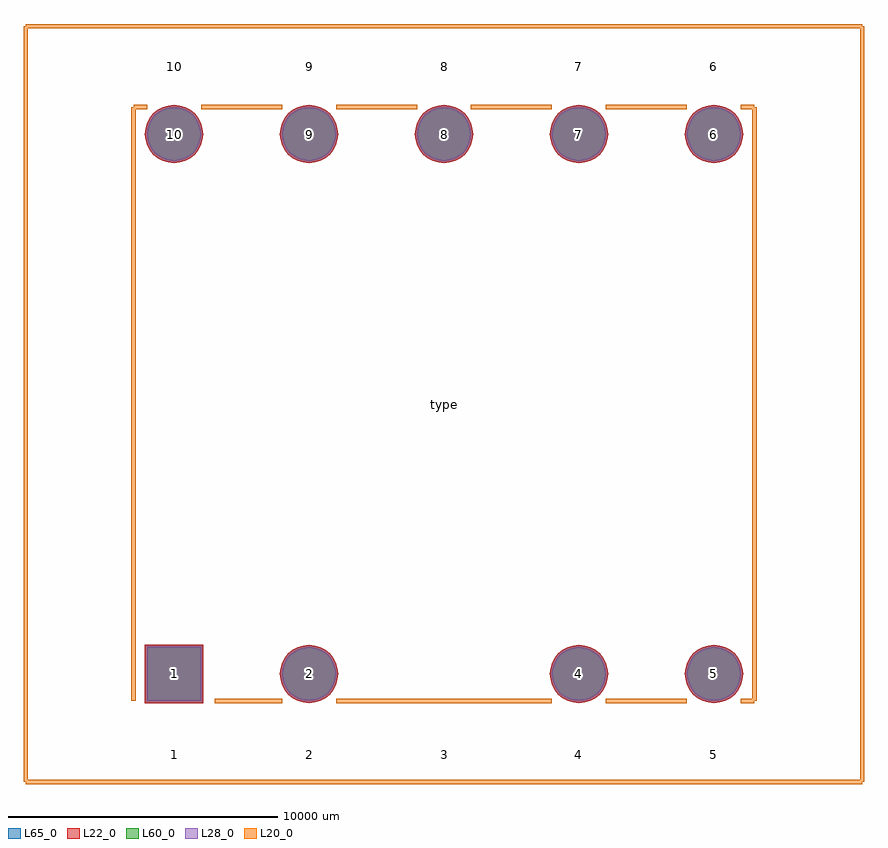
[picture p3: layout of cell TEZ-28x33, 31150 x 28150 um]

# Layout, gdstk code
import gdstk
lib = gdstk.Library(unit=1e-6, precision=1e-09)
def R(c, l, rs):  # rectangles x0, y0, x1, y1
    for r in rs: c.add(gdstk.rectangle(r[:2], r[2:], *l))
def P(c, l, *ps):  # polygons
    for p in ps: c.add(gdstk.Polygon(p, *l))
L20_0 = (20, 0)
L22_0 = (22, 0)
L28_0 = (28, 0)
L60_0 = (60, 0)
L65_0 = (65, 0)

tez_28x33 = lib.new_cell('TEZ-28x33')
R(tez_28x33, L22_0, [(-11075,-11075,-8925,-8925)])
P(tez_28x33, L22_0, [(-8925,10000),(-8945.656,10209.722),(-9006.83,10411.385),(-9106.17,10597.238),(-9239.86,10760.14),(-9402.762,10893.83),(-9588.615,10993.17),(-9790.278,11054.344),(-10000,11075),(-10209.722,11054.344),(-10411.385,10993.17),(-10597.238,10893.83),(-10760.14,10760.14),(-10893.83,10597.238),(-10993.17,10411.385),(-11054.344,10209.722),(-11075,10000),(-11054.344,9790.278),(-10993.17,9588.615),(-10893.83,9402.762),(-10760.14,9239.86),(-10597.238,9106.17),(-10411.385,9006.83),(-10209.722,8945.656),(-10000,8925),(-9790.278,8945.656),(-9588.615,9006.83),(-9402.762,9106.17),(-9239.86,9239.86),(-9106.17,9402.762),(-9006.83,9588.615),(-8945.656,9790.278)],
  [(-3925,10000),(-3945.656,10209.722),(-4006.83,10411.385),(-4106.17,10597.238),(-4239.86,10760.14),(-4402.762,10893.83),(-4588.615,10993.17),(-4790.278,11054.344),(-5000,11075),(-5209.722,11054.344),(-5411.385,10993.17),(-5597.238,10893.83),(-5760.14,10760.14),(-5893.83,10597.238),(-5993.17,10411.385),(-6054.344,10209.722),(-6075,10000),(-6054.344,9790.278),(-5993.17,9588.615),(-5893.83,9402.762),(-5760.14,9239.86),(-5597.238,9106.17),(-5411.385,9006.83),(-5209.722,8945.656),(-5000,8925),(-4790.278,8945.656),(-4588.615,9006.83),(-4402.762,9106.17),(-4239.86,9239.86),(-4106.17,9402.762),(-4006.83,9588.615),(-3945.656,9790.278)],
  [(1075,10000),(1054.344,10209.722),(993.17,10411.385),(893.83,10597.238),(760.14,10760.14),(597.238,10893.83),(411.385,10993.17),(209.722,11054.344),(0,11075),(-209.722,11054.344),(-411.385,10993.17),(-597.238,10893.83),(-760.14,10760.14),(-893.83,10597.238),(-993.17,10411.385),(-1054.344,10209.722),(-1075,10000),(-1054.344,9790.278),(-993.17,9588.615),(-893.83,9402.762),(-760.14,9239.86),(-597.238,9106.17),(-411.385,9006.83),(-209.722,8945.656),(0,8925),(209.722,8945.656),(411.385,9006.83),(597.238,9106.17),(760.14,9239.86),(893.83,9402.762),(993.17,9588.615),(1054.344,9790.278)],
  [(6075,10000),(6054.344,10209.722),(5993.17,10411.385),(5893.83,10597.238),(5760.14,10760.14),(5597.238,10893.83),(5411.385,10993.17),(5209.722,11054.344),(5000,11075),(4790.278,11054.344),(4588.615,10993.17),(4402.762,10893.83),(4239.86,10760.14),(4106.17,10597.238),(4006.83,10411.385),(3945.656,10209.722),(3925,10000),(3945.656,9790.278),(4006.83,9588.615),(4106.17,9402.762),(4239.86,9239.86),(4402.762,9106.17),(4588.615,9006.83),(4790.278,8945.656),(5000,8925),(5209.722,8945.656),(5411.385,9006.83),(5597.238,9106.17),(5760.14,9239.86),(5893.83,9402.762),(5993.17,9588.615),(6054.344,9790.278)],
  [(11075,10000),(11054.344,10209.722),(10993.17,10411.385),(10893.83,10597.238),(10760.14,10760.14),(10597.238,10893.83),(10411.385,10993.17),(10209.722,11054.344),(10000,11075),(9790.278,11054.344),(9588.615,10993.17),(9402.762,10893.83),(9239.86,10760.14),(9106.17,10597.238),(9006.83,10411.385),(8945.656,10209.722),(8925,10000),(8945.656,9790.278),(9006.83,9588.615),(9106.17,9402.762),(9239.86,9239.86),(9402.762,9106.17),(9588.615,9006.83),(9790.278,8945.656),(10000,8925),(10209.722,8945.656),(10411.385,9006.83),(10597.238,9106.17),(10760.14,9239.86),(10893.83,9402.762),(10993.17,9588.615),(11054.344,9790.278)],
  [(11075,-10000),(11054.344,-9790.278),(10993.17,-9588.615),(10893.83,-9402.762),(10760.14,-9239.86),(10597.238,-9106.17),(10411.385,-9006.83),(10209.722,-8945.656),(10000,-8925),(9790.278,-8945.656),(9588.615,-9006.83),(9402.762,-9106.17),(9239.86,-9239.86),(9106.17,-9402.762),(9006.83,-9588.615),(8945.656,-9790.278),(8925,-10000),(8945.656,-10209.722),(9006.83,-10411.385),(9106.17,-10597.238),(9239.86,-10760.14),(9402.762,-10893.83),(9588.615,-10993.17),(9790.278,-11054.344),(10000,-11075),(10209.722,-11054.344),(10411.385,-10993.17),(10597.238,-10893.83),(10760.14,-10760.14),(10893.83,-10597.238),(10993.17,-10411.385),(11054.344,-10209.722)],
  [(6075,-10000),(6054.344,-9790.278),(5993.17,-9588.615),(5893.83,-9402.762),(5760.14,-9239.86),(5597.238,-9106.17),(5411.385,-9006.83),(5209.722,-8945.656),(5000,-8925),(4790.278,-8945.656),(4588.615,-9006.83),(4402.762,-9106.17),(4239.86,-9239.86),(4106.17,-9402.762),(4006.83,-9588.615),(3945.656,-9790.278),(3925,-10000),(3945.656,-10209.722),(4006.83,-10411.385),(4106.17,-10597.238),(4239.86,-10760.14),(4402.762,-10893.83),(4588.615,-10993.17),(4790.278,-11054.344),(5000,-11075),(5209.722,-11054.344),(5411.385,-10993.17),(5597.238,-10893.83),(5760.14,-10760.14),(5893.83,-10597.238),(5993.17,-10411.385),(6054.344,-10209.722)],
  [(-3925,-10000),(-3945.656,-9790.278),(-4006.83,-9588.615),(-4106.17,-9402.762),(-4239.86,-9239.86),(-4402.762,-9106.17),(-4588.615,-9006.83),(-4790.278,-8945.656),(-5000,-8925),(-5209.722,-8945.656),(-5411.385,-9006.83),(-5597.238,-9106.17),(-5760.14,-9239.86),(-5893.83,-9402.762),(-5993.17,-9588.615),(-6054.344,-9790.278),(-6075,-10000),(-6054.344,-10209.722),(-5993.17,-10411.385),(-5893.83,-10597.238),(-5760.14,-10760.14),(-5597.238,-10893.83),(-5411.385,-10993.17),(-5209.722,-11054.344),(-5000,-11075),(-4790.278,-11054.344),(-4588.615,-10993.17),(-4402.762,-10893.83),(-4239.86,-10760.14),(-4106.17,-10597.238),(-4006.83,-10411.385),(-3945.656,-10209.722)])
R(tez_28x33, L28_0, [(-11000,-11000,-9000,-9000)])
P(tez_28x33, L28_0, [(-9000,10000),(-9019.215,10195.09),(-9076.12,10382.683),(-9168.53,10555.57),(-9292.893,10707.107),(-9444.43,10831.47),(-9617.317,10923.88),(-9804.91,10980.785),(-10000,11000),(-10195.09,10980.785),(-10382.683,10923.88),(-10555.57,10831.47),(-10707.107,10707.107),(-10831.47,10555.57),(-10923.88,10382.683),(-10980.785,10195.09),(-11000,10000),(-10980.785,9804.91),(-10923.88,9617.317),(-10831.47,9444.43),(-10707.107,9292.893),(-10555.57,9168.53),(-10382.683,9076.12),(-10195.09,9019.215),(-10000,9000),(-9804.91,9019.215),(-9617.317,9076.12),(-9444.43,9168.53),(-9292.893,9292.893),(-9168.53,9444.43),(-9076.12,9617.317),(-9019.215,9804.91)],
  [(-4000,10000),(-4019.215,10195.09),(-4076.12,10382.683),(-4168.53,10555.57),(-4292.893,10707.107),(-4444.43,10831.47),(-4617.317,10923.88),(-4804.91,10980.785),(-5000,11000),(-5195.09,10980.785),(-5382.683,10923.88),(-5555.57,10831.47),(-5707.107,10707.107),(-5831.47,10555.57),(-5923.88,10382.683),(-5980.785,10195.09),(-6000,10000),(-5980.785,9804.91),(-5923.88,9617.317),(-5831.47,9444.43),(-5707.107,9292.893),(-5555.57,9168.53),(-5382.683,9076.12),(-5195.09,9019.215),(-5000,9000),(-4804.91,9019.215),(-4617.317,9076.12),(-4444.43,9168.53),(-4292.893,9292.893),(-4168.53,9444.43),(-4076.12,9617.317),(-4019.215,9804.91)],
  [(1000,10000),(980.785,10195.09),(923.88,10382.683),(831.47,10555.57),(707.107,10707.107),(555.57,10831.47),(382.683,10923.88),(195.09,10980.785),(0,11000),(-195.09,10980.785),(-382.683,10923.88),(-555.57,10831.47),(-707.107,10707.107),(-831.47,10555.57),(-923.88,10382.683),(-980.785,10195.09),(-1000,10000),(-980.785,9804.91),(-923.88,9617.317),(-831.47,9444.43),(-707.107,9292.893),(-555.57,9168.53),(-382.683,9076.12),(-195.09,9019.215),(0,9000),(195.09,9019.215),(382.683,9076.12),(555.57,9168.53),(707.107,9292.893),(831.47,9444.43),(923.88,9617.317),(980.785,9804.91)],
  [(6000,10000),(5980.785,10195.09),(5923.88,10382.683),(5831.47,10555.57),(5707.107,10707.107),(5555.57,10831.47),(5382.683,10923.88),(5195.09,10980.785),(5000,11000),(4804.91,10980.785),(4617.317,10923.88),(4444.43,10831.47),(4292.893,10707.107),(4168.53,10555.57),(4076.12,10382.683),(4019.215,10195.09),(4000,10000),(4019.215,9804.91),(4076.12,9617.317),(4168.53,9444.43),(4292.893,9292.893),(4444.43,9168.53),(4617.317,9076.12),(4804.91,9019.215),(5000,9000),(5195.09,9019.215),(5382.683,9076.12),(5555.57,9168.53),(5707.107,9292.893),(5831.47,9444.43),(5923.88,9617.317),(5980.785,9804.91)],
  [(11000,10000),(10980.785,10195.09),(10923.88,10382.683),(10831.47,10555.57),(10707.107,10707.107),(10555.57,10831.47),(10382.683,10923.88),(10195.09,10980.785),(10000,11000),(9804.91,10980.785),(9617.317,10923.88),(9444.43,10831.47),(9292.893,10707.107),(9168.53,10555.57),(9076.12,10382.683),(9019.215,10195.09),(9000,10000),(9019.215,9804.91),(9076.12,9617.317),(9168.53,9444.43),(9292.893,9292.893),(9444.43,9168.53),(9617.317,9076.12),(9804.91,9019.215),(10000,9000),(10195.09,9019.215),(10382.683,9076.12),(10555.57,9168.53),(10707.107,9292.893),(10831.47,9444.43),(10923.88,9617.317),(10980.785,9804.91)],
  [(11000,-10000),(10980.785,-9804.91),(10923.88,-9617.317),(10831.47,-9444.43),(10707.107,-9292.893),(10555.57,-9168.53),(10382.683,-9076.12),(10195.09,-9019.215),(10000,-9000),(9804.91,-9019.215),(9617.317,-9076.12),(9444.43,-9168.53),(9292.893,-9292.893),(9168.53,-9444.43),(9076.12,-9617.317),(9019.215,-9804.91),(9000,-10000),(9019.215,-10195.09),(9076.12,-10382.683),(9168.53,-10555.57),(9292.893,-10707.107),(9444.43,-10831.47),(9617.317,-10923.88),(9804.91,-10980.785),(10000,-11000),(10195.09,-10980.785),(10382.683,-10923.88),(10555.57,-10831.47),(10707.107,-10707.107),(10831.47,-10555.57),(10923.88,-10382.683),(10980.785,-10195.09)],
  [(6000,-10000),(5980.785,-9804.91),(5923.88,-9617.317),(5831.47,-9444.43),(5707.107,-9292.893),(5555.57,-9168.53),(5382.683,-9076.12),(5195.09,-9019.215),(5000,-9000),(4804.91,-9019.215),(4617.317,-9076.12),(4444.43,-9168.53),(4292.893,-9292.893),(4168.53,-9444.43),(4076.12,-9617.317),(4019.215,-9804.91),(4000,-10000),(4019.215,-10195.09),(4076.12,-10382.683),(4168.53,-10555.57),(4292.893,-10707.107),(4444.43,-10831.47),(4617.317,-10923.88),(4804.91,-10980.785),(5000,-11000),(5195.09,-10980.785),(5382.683,-10923.88),(5555.57,-10831.47),(5707.107,-10707.107),(5831.47,-10555.57),(5923.88,-10382.683),(5980.785,-10195.09)],
  [(-4000,-10000),(-4019.215,-9804.91),(-4076.12,-9617.317),(-4168.53,-9444.43),(-4292.893,-9292.893),(-4444.43,-9168.53),(-4617.317,-9076.12),(-4804.91,-9019.215),(-5000,-9000),(-5195.09,-9019.215),(-5382.683,-9076.12),(-5555.57,-9168.53),(-5707.107,-9292.893),(-5831.47,-9444.43),(-5923.88,-9617.317),(-5980.785,-9804.91),(-6000,-10000),(-5980.785,-10195.09),(-5923.88,-10382.683),(-5831.47,-10555.57),(-5707.107,-10707.107),(-5555.57,-10831.47),(-5382.683,-10923.88),(-5195.09,-10980.785),(-5000,-11000),(-4804.91,-10980.785),(-4617.317,-10923.88),(-4444.43,-10831.47),(-4292.893,-10707.107),(-4168.53,-10555.57),(-4076.12,-10382.683),(-4019.215,-10195.09)])
R(tez_28x33, L60_0, [(-11000,-11000,-9000,-9000)])
P(tez_28x33, L60_0, [(-9000,10000),(-9019.215,10195.09),(-9076.12,10382.683),(-9168.53,10555.57),(-9292.893,10707.107),(-9444.43,10831.47),(-9617.317,10923.88),(-9804.91,10980.785),(-10000,11000),(-10195.09,10980.785),(-10382.683,10923.88),(-10555.57,10831.47),(-10707.107,10707.107),(-10831.47,10555.57),(-10923.88,10382.683),(-10980.785,10195.09),(-11000,10000),(-10980.785,9804.91),(-10923.88,9617.317),(-10831.47,9444.43),(-10707.107,9292.893),(-10555.57,9168.53),(-10382.683,9076.12),(-10195.09,9019.215),(-10000,9000),(-9804.91,9019.215),(-9617.317,9076.12),(-9444.43,9168.53),(-9292.893,9292.893),(-9168.53,9444.43),(-9076.12,9617.317),(-9019.215,9804.91)],
  [(-4000,10000),(-4019.215,10195.09),(-4076.12,10382.683),(-4168.53,10555.57),(-4292.893,10707.107),(-4444.43,10831.47),(-4617.317,10923.88),(-4804.91,10980.785),(-5000,11000),(-5195.09,10980.785),(-5382.683,10923.88),(-5555.57,10831.47),(-5707.107,10707.107),(-5831.47,10555.57),(-5923.88,10382.683),(-5980.785,10195.09),(-6000,10000),(-5980.785,9804.91),(-5923.88,9617.317),(-5831.47,9444.43),(-5707.107,9292.893),(-5555.57,9168.53),(-5382.683,9076.12),(-5195.09,9019.215),(-5000,9000),(-4804.91,9019.215),(-4617.317,9076.12),(-4444.43,9168.53),(-4292.893,9292.893),(-4168.53,9444.43),(-4076.12,9617.317),(-4019.215,9804.91)],
  [(1000,10000),(980.785,10195.09),(923.88,10382.683),(831.47,10555.57),(707.107,10707.107),(555.57,10831.47),(382.683,10923.88),(195.09,10980.785),(0,11000),(-195.09,10980.785),(-382.683,10923.88),(-555.57,10831.47),(-707.107,10707.107),(-831.47,10555.57),(-923.88,10382.683),(-980.785,10195.09),(-1000,10000),(-980.785,9804.91),(-923.88,9617.317),(-831.47,9444.43),(-707.107,9292.893),(-555.57,9168.53),(-382.683,9076.12),(-195.09,9019.215),(0,9000),(195.09,9019.215),(382.683,9076.12),(555.57,9168.53),(707.107,9292.893),(831.47,9444.43),(923.88,9617.317),(980.785,9804.91)],
  [(6000,10000),(5980.785,10195.09),(5923.88,10382.683),(5831.47,10555.57),(5707.107,10707.107),(5555.57,10831.47),(5382.683,10923.88),(5195.09,10980.785),(5000,11000),(4804.91,10980.785),(4617.317,10923.88),(4444.43,10831.47),(4292.893,10707.107),(4168.53,10555.57),(4076.12,10382.683),(4019.215,10195.09),(4000,10000),(4019.215,9804.91),(4076.12,9617.317),(4168.53,9444.43),(4292.893,9292.893),(4444.43,9168.53),(4617.317,9076.12),(4804.91,9019.215),(5000,9000),(5195.09,9019.215),(5382.683,9076.12),(5555.57,9168.53),(5707.107,9292.893),(5831.47,9444.43),(5923.88,9617.317),(5980.785,9804.91)],
  [(11000,10000),(10980.785,10195.09),(10923.88,10382.683),(10831.47,10555.57),(10707.107,10707.107),(10555.57,10831.47),(10382.683,10923.88),(10195.09,10980.785),(10000,11000),(9804.91,10980.785),(9617.317,10923.88),(9444.43,10831.47),(9292.893,10707.107),(9168.53,10555.57),(9076.12,10382.683),(9019.215,10195.09),(9000,10000),(9019.215,9804.91),(9076.12,9617.317),(9168.53,9444.43),(9292.893,9292.893),(9444.43,9168.53),(9617.317,9076.12),(9804.91,9019.215),(10000,9000),(10195.09,9019.215),(10382.683,9076.12),(10555.57,9168.53),(10707.107,9292.893),(10831.47,9444.43),(10923.88,9617.317),(10980.785,9804.91)],
  [(11000,-10000),(10980.785,-9804.91),(10923.88,-9617.317),(10831.47,-9444.43),(10707.107,-9292.893),(10555.57,-9168.53),(10382.683,-9076.12),(10195.09,-9019.215),(10000,-9000),(9804.91,-9019.215),(9617.317,-9076.12),(9444.43,-9168.53),(9292.893,-9292.893),(9168.53,-9444.43),(9076.12,-9617.317),(9019.215,-9804.91),(9000,-10000),(9019.215,-10195.09),(9076.12,-10382.683),(9168.53,-10555.57),(9292.893,-10707.107),(9444.43,-10831.47),(9617.317,-10923.88),(9804.91,-10980.785),(10000,-11000),(10195.09,-10980.785),(10382.683,-10923.88),(10555.57,-10831.47),(10707.107,-10707.107),(10831.47,-10555.57),(10923.88,-10382.683),(10980.785,-10195.09)],
  [(6000,-10000),(5980.785,-9804.91),(5923.88,-9617.317),(5831.47,-9444.43),(5707.107,-9292.893),(5555.57,-9168.53),(5382.683,-9076.12),(5195.09,-9019.215),(5000,-9000),(4804.91,-9019.215),(4617.317,-9076.12),(4444.43,-9168.53),(4292.893,-9292.893),(4168.53,-9444.43),(4076.12,-9617.317),(4019.215,-9804.91),(4000,-10000),(4019.215,-10195.09),(4076.12,-10382.683),(4168.53,-10555.57),(4292.893,-10707.107),(4444.43,-10831.47),(4617.317,-10923.88),(4804.91,-10980.785),(5000,-11000),(5195.09,-10980.785),(5382.683,-10923.88),(5555.57,-10831.47),(5707.107,-10707.107),(5831.47,-10555.57),(5923.88,-10382.683),(5980.785,-10195.09)],
  [(-4000,-10000),(-4019.215,-9804.91),(-4076.12,-9617.317),(-4168.53,-9444.43),(-4292.893,-9292.893),(-4444.43,-9168.53),(-4617.317,-9076.12),(-4804.91,-9019.215),(-5000,-9000),(-5195.09,-9019.215),(-5382.683,-9076.12),(-5555.57,-9168.53),(-5707.107,-9292.893),(-5831.47,-9444.43),(-5923.88,-9617.317),(-5980.785,-9804.91),(-6000,-10000),(-5980.785,-10195.09),(-5923.88,-10382.683),(-5831.47,-10555.57),(-5707.107,-10707.107),(-5555.57,-10831.47),(-5382.683,-10923.88),(-5195.09,-10980.785),(-5000,-11000),(-4804.91,-10980.785),(-4617.317,-10923.88),(-4444.43,-10831.47),(-4292.893,-10707.107),(-4168.53,-10555.57),(-4076.12,-10382.683),(-4019.215,-10195.09)])
R(tez_28x33, L65_0, [(-11075,-11075,-8925,-8925)])
P(tez_28x33, L65_0, [(-8925,10000),(-8945.656,10209.722),(-9006.83,10411.385),(-9106.17,10597.238),(-9239.86,10760.14),(-9402.762,10893.83),(-9588.615,10993.17),(-9790.278,11054.344),(-10000,11075),(-10209.722,11054.344),(-10411.385,10993.17),(-10597.238,10893.83),(-10760.14,10760.14),(-10893.83,10597.238),(-10993.17,10411.385),(-11054.344,10209.722),(-11075,10000),(-11054.344,9790.278),(-10993.17,9588.615),(-10893.83,9402.762),(-10760.14,9239.86),(-10597.238,9106.17),(-10411.385,9006.83),(-10209.722,8945.656),(-10000,8925),(-9790.278,8945.656),(-9588.615,9006.83),(-9402.762,9106.17),(-9239.86,9239.86),(-9106.17,9402.762),(-9006.83,9588.615),(-8945.656,9790.278)],
  [(-3925,10000),(-3945.656,10209.722),(-4006.83,10411.385),(-4106.17,10597.238),(-4239.86,10760.14),(-4402.762,10893.83),(-4588.615,10993.17),(-4790.278,11054.344),(-5000,11075),(-5209.722,11054.344),(-5411.385,10993.17),(-5597.238,10893.83),(-5760.14,10760.14),(-5893.83,10597.238),(-5993.17,10411.385),(-6054.344,10209.722),(-6075,10000),(-6054.344,9790.278),(-5993.17,9588.615),(-5893.83,9402.762),(-5760.14,9239.86),(-5597.238,9106.17),(-5411.385,9006.83),(-5209.722,8945.656),(-5000,8925),(-4790.278,8945.656),(-4588.615,9006.83),(-4402.762,9106.17),(-4239.86,9239.86),(-4106.17,9402.762),(-4006.83,9588.615),(-3945.656,9790.278)],
  [(1075,10000),(1054.344,10209.722),(993.17,10411.385),(893.83,10597.238),(760.14,10760.14),(597.238,10893.83),(411.385,10993.17),(209.722,11054.344),(0,11075),(-209.722,11054.344),(-411.385,10993.17),(-597.238,10893.83),(-760.14,10760.14),(-893.83,10597.238),(-993.17,10411.385),(-1054.344,10209.722),(-1075,10000),(-1054.344,9790.278),(-993.17,9588.615),(-893.83,9402.762),(-760.14,9239.86),(-597.238,9106.17),(-411.385,9006.83),(-209.722,8945.656),(0,8925),(209.722,8945.656),(411.385,9006.83),(597.238,9106.17),(760.14,9239.86),(893.83,9402.762),(993.17,9588.615),(1054.344,9790.278)],
  [(6075,10000),(6054.344,10209.722),(5993.17,10411.385),(5893.83,10597.238),(5760.14,10760.14),(5597.238,10893.83),(5411.385,10993.17),(5209.722,11054.344),(5000,11075),(4790.278,11054.344),(4588.615,10993.17),(4402.762,10893.83),(4239.86,10760.14),(4106.17,10597.238),(4006.83,10411.385),(3945.656,10209.722),(3925,10000),(3945.656,9790.278),(4006.83,9588.615),(4106.17,9402.762),(4239.86,9239.86),(4402.762,9106.17),(4588.615,9006.83),(4790.278,8945.656),(5000,8925),(5209.722,8945.656),(5411.385,9006.83),(5597.238,9106.17),(5760.14,9239.86),(5893.83,9402.762),(5993.17,9588.615),(6054.344,9790.278)],
  [(11075,10000),(11054.344,10209.722),(10993.17,10411.385),(10893.83,10597.238),(10760.14,10760.14),(10597.238,10893.83),(10411.385,10993.17),(10209.722,11054.344),(10000,11075),(9790.278,11054.344),(9588.615,10993.17),(9402.762,10893.83),(9239.86,10760.14),(9106.17,10597.238),(9006.83,10411.385),(8945.656,10209.722),(8925,10000),(8945.656,9790.278),(9006.83,9588.615),(9106.17,9402.762),(9239.86,9239.86),(9402.762,9106.17),(9588.615,9006.83),(9790.278,8945.656),(10000,8925),(10209.722,8945.656),(10411.385,9006.83),(10597.238,9106.17),(10760.14,9239.86),(10893.83,9402.762),(10993.17,9588.615),(11054.344,9790.278)],
  [(11075,-10000),(11054.344,-9790.278),(10993.17,-9588.615),(10893.83,-9402.762),(10760.14,-9239.86),(10597.238,-9106.17),(10411.385,-9006.83),(10209.722,-8945.656),(10000,-8925),(9790.278,-8945.656),(9588.615,-9006.83),(9402.762,-9106.17),(9239.86,-9239.86),(9106.17,-9402.762),(9006.83,-9588.615),(8945.656,-9790.278),(8925,-10000),(8945.656,-10209.722),(9006.83,-10411.385),(9106.17,-10597.238),(9239.86,-10760.14),(9402.762,-10893.83),(9588.615,-10993.17),(9790.278,-11054.344),(10000,-11075),(10209.722,-11054.344),(10411.385,-10993.17),(10597.238,-10893.83),(10760.14,-10760.14),(10893.83,-10597.238),(10993.17,-10411.385),(11054.344,-10209.722)],
  [(6075,-10000),(6054.344,-9790.278),(5993.17,-9588.615),(5893.83,-9402.762),(5760.14,-9239.86),(5597.238,-9106.17),(5411.385,-9006.83),(5209.722,-8945.656),(5000,-8925),(4790.278,-8945.656),(4588.615,-9006.83),(4402.762,-9106.17),(4239.86,-9239.86),(4106.17,-9402.762),(4006.83,-9588.615),(3945.656,-9790.278),(3925,-10000),(3945.656,-10209.722),(4006.83,-10411.385),(4106.17,-10597.238),(4239.86,-10760.14),(4402.762,-10893.83),(4588.615,-10993.17),(4790.278,-11054.344),(5000,-11075),(5209.722,-11054.344),(5411.385,-10993.17),(5597.238,-10893.83),(5760.14,-10760.14),(5893.83,-10597.238),(5993.17,-10411.385),(6054.344,-10209.722)],
  [(-3925,-10000),(-3945.656,-9790.278),(-4006.83,-9588.615),(-4106.17,-9402.762),(-4239.86,-9239.86),(-4402.762,-9106.17),(-4588.615,-9006.83),(-4790.278,-8945.656),(-5000,-8925),(-5209.722,-8945.656),(-5411.385,-9006.83),(-5597.238,-9106.17),(-5760.14,-9239.86),(-5893.83,-9402.762),(-5993.17,-9588.615),(-6054.344,-9790.278),(-6075,-10000),(-6054.344,-10209.722),(-5993.17,-10411.385),(-5893.83,-10597.238),(-5760.14,-10760.14),(-5597.238,-10893.83),(-5411.385,-10993.17),(-5209.722,-11054.344),(-5000,-11075),(-4790.278,-11054.344),(-4588.615,-10993.17),(-4402.762,-10893.83),(-4239.86,-10760.14),(-4106.17,-10597.238),(-4006.83,-10411.385),(-3945.656,-10209.722)])
tez_28x33.add(gdstk.FlexPath([(-15500,-14000),(-15500,14000)], 149.998, ends="flush", simple_path=True, layer=20, datatype=0))  # L20_0
tez_28x33.add(gdstk.FlexPath([(15500,-14000),(-15500,-14000)], 149.998, ends="flush", simple_path=True, layer=20, datatype=0))  # L20_0
tez_28x33.add(gdstk.FlexPath([(15500,14000),(15500,-14000)], 149.998, ends="flush", simple_path=True, layer=20, datatype=0))  # L20_0
tez_28x33.add(gdstk.FlexPath([(-15500,14000),(15500,14000)], 149.998, ends="flush", simple_path=True, layer=20, datatype=0))  # L20_0
tez_28x33.add(gdstk.FlexPath([(11500,11000),(11000,11000)], 149.998, ends="flush", simple_path=True, layer=20, datatype=0))  # L20_0
tez_28x33.add(gdstk.FlexPath([(11500,-11000),(11500,11000)], 149.998, ends="flush", simple_path=True, layer=20, datatype=0))  # L20_0
tez_28x33.add(gdstk.FlexPath([(11000,-11000),(11500,-11000)], 149.998, ends="flush", simple_path=True, layer=20, datatype=0))  # L20_0
tez_28x33.add(gdstk.FlexPath([(9000,11000),(6000,11000)], 149.998, ends="flush", simple_path=True, layer=20, datatype=0))  # L20_0
tez_28x33.add(gdstk.FlexPath([(4000,11000),(1000,11000)], 149.998, ends="flush", simple_path=True, layer=20, datatype=0))  # L20_0
tez_28x33.add(gdstk.FlexPath([(-1000,11000),(-4000,11000)], 149.998, ends="flush", simple_path=True, layer=20, datatype=0))  # L20_0
tez_28x33.add(gdstk.FlexPath([(-6000,11000),(-9000,11000)], 149.998, ends="flush", simple_path=True, layer=20, datatype=0))  # L20_0
tez_28x33.add(gdstk.FlexPath([(-11500,11000),(-11500,-11000)], 149.998, ends="flush", simple_path=True, layer=20, datatype=0))  # L20_0
tez_28x33.add(gdstk.FlexPath([(-11000,11000),(-11500,11000)], 149.998, ends="flush", simple_path=True, layer=20, datatype=0))  # L20_0
tez_28x33.add(gdstk.FlexPath([(-8500,-11000),(-6000,-11000)], 149.998, ends="flush", simple_path=True, layer=20, datatype=0))  # L20_0
tez_28x33.add(gdstk.FlexPath([(-4000,-11000),(4000,-11000)], 149.998, ends="flush", simple_path=True, layer=20, datatype=0))  # L20_0
tez_28x33.add(gdstk.FlexPath([(6000,-11000),(9000,-11000)], 149.998, ends="flush", simple_path=True, layer=20, datatype=0))  # L20_0
tez_28x33.add(gdstk.Label('10', (-10000,10000), layer=28, texttype=0))
tez_28x33.add(gdstk.Label('9', (-5000,10000), layer=28, texttype=0))
tez_28x33.add(gdstk.Label('8', (0,10000), layer=28, texttype=0))
tez_28x33.add(gdstk.Label('7', (5000,10000), layer=28, texttype=0))
tez_28x33.add(gdstk.Label('6', (10000,10000), layer=28, texttype=0))
tez_28x33.add(gdstk.Label('5', (10000,-10000), layer=28, texttype=0))
tez_28x33.add(gdstk.Label('4', (5000,-10000), layer=28, texttype=0))
tez_28x33.add(gdstk.Label('2', (-5000,-10000), layer=28, texttype=0))
tez_28x33.add(gdstk.Label('1', (-10000,-10000), layer=28, texttype=0))
tez_28x33.add(gdstk.Label('1', (-10000,-13000), layer=9, texttype=0))
tez_28x33.add(gdstk.Label('2', (-5000,-13000), layer=9, texttype=0))
tez_28x33.add(gdstk.Label('3', (0,-13000), layer=9, texttype=0))
tez_28x33.add(gdstk.Label('4', (5000,-13000), layer=9, texttype=0))
tez_28x33.add(gdstk.Label('5', (10000,-13000), layer=9, texttype=0))
tez_28x33.add(gdstk.Label('6', (10000,12500), layer=9, texttype=0))
tez_28x33.add(gdstk.Label('7', (5000,12500), layer=9, texttype=0))
tez_28x33.add(gdstk.Label('8', (0,12500), layer=9, texttype=0))
tez_28x33.add(gdstk.Label('9', (-5000,12500), layer=9, texttype=0))
tez_28x33.add(gdstk.Label('10', (-10000,12500), layer=9, texttype=0))
tez_28x33.add(gdstk.Label('type', (0,0), layer=9, texttype=0))
tez_28x33.add(gdstk.Label('devicename', (0,15500), layer=9, texttype=0))

lib.write_gds('TEZ-28x33.gds')
